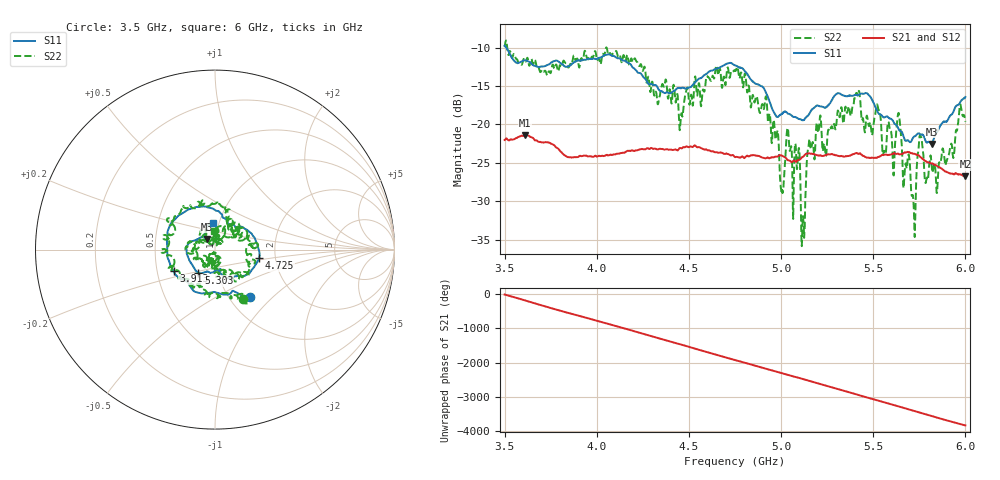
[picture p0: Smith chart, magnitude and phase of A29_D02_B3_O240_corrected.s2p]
! Created with skrf 1.9.0 (http://scikit-rf.org).
# Hz S RI R 50.0
!freq ReS11 ImS11 ReS21 ImS21 ReS12 ImS12 ReS22 ImS22
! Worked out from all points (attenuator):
!   1601 points, 3.5 GHz to 6 GHz, reference 50 ohm
!   highest |S21| = -21.43 dB at 3.612 GHz (marker M1); lowest = -26.8 dB at 6 GHz (marker M2)
!   lowest |S11| = -22.6 dB at 5.817 GHz (marker M3), VSWR 1.16, Z = 45.4 + j5.37 ohm
!   |S11| at or under -10 dB: 3.508 GHz to end of sweep
!   |S22| runs from -35.9 to -9.1 dB; largest |S21 - S12| = 0.00093
!   S11 on the Smith chart (normalised r, x): 3.5 GHz: 1.24, -0.73; 3.913 GHz: 0.61, -0.16; 4.725 GHz: 1.64, -0.17; 5.303 GHz: 0.81, -0.21; 6 GHz: 0.93, +0.29
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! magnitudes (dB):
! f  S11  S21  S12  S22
! 3.5 GHz  -9.7  -22.0  -22.0  -9.9
! 3.612 GHz  -11.7  -21.4  -21.4  -11.9
! 3.913 GHz  -11.7  -24.1  -24.1  -11.6
! 3.917 GHz  -11.7  -24.1  -24.1  -11.4
! 4.334 GHz  -15.4  -23.2  -23.2  -17.2
! 4.456 GHz  -15.3  -23.1  -23.1  -18.9
! 4.725 GHz  -12.0  -24.0  -23.9  -13.6
! 4.75 GHz  -12.3  -24.3  -24.2  -13.0
! 4.925 GHz  -16.2  -24.3  -24.3  -18.2
! 5.005 GHz  -18.6  -24.1  -24.1  -28.6
! 5.036 GHz  -18.6  -24.7  -24.6  -20.5
! 5.088 GHz  -19.2  -24.8  -24.8  -25.7
! 5.119 GHz  -19.5  -24.2  -24.2  -31.9
! 5.167 GHz  -18.1  -23.8  -23.8  -22.7
! 5.303 GHz  -16.0  -24.1  -24.0  -19.1
! 5.414 GHz  -16.2  -23.8  -23.8  -16.1
! 5.584 GHz  -19.2  -24.0  -23.9  -19.8
! 5.641 GHz  -20.7  -23.9  -23.8  -18.9
! 5.719 GHz  -21.6  -23.8  -23.8  -30.3
! 5.753 GHz  -21.3  -24.2  -24.1  -21.6
! 5.817 GHz  -22.6  -25.1  -25.0  -25.4
! 6 GHz  -16.4  -26.8  -26.7  -19.6
